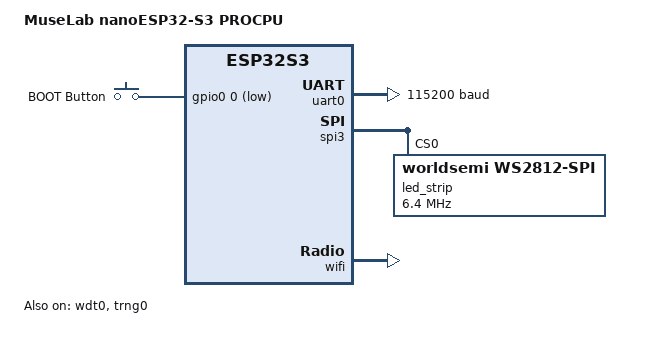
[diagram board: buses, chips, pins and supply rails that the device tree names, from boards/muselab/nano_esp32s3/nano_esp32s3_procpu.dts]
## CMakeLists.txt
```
# SPDX-License-Identifier: Apache-2.0

cmake_minimum_required(VERSION 3.20.0)

# Board definition for MuseLab nanoESP32-S3 lives in ./boards
set(BOARD_ROOT ${CMAKE_CURRENT_LIST_DIR})

find_package(Zephyr REQUIRED HINTS $ENV{ZEPHYR_BASE})
project(atnode_zephyr)

# Per-service HTTP resource iterable section (required by HTTP_SERVICE_DEFINE)
zephyr_linker_sources(SECTIONS sections-rom.ld)

# Shim so the shared Arduino-generated web_page.h (<pgmspace.h>/PROGMEM)
# compiles unmodified under Zephyr.
target_include_directories(app PRIVATE src src/compat)

target_sources(app PRIVATE
	src/main.c
	src/cfg.c
	src/at_core.c
	src/at_serial.c
	src/kbd.c
	src/kbd_ble.c
	src/kbd_usb.c
	src/led.c
	src/wifi_sta.c
	src/httpd.c
	src/mqttc.c
	src/hws.c
)
```

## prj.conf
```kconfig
# SPDX-License-Identifier: Apache-2.0
# AT-Node Zephyr variant (ESP32-S3) — application config
# Board: muselab/nano_esp32s3 (ESP32-S3-WROOM-1-N8R8, 8MB flash + 8MB octal PSRAM)

# --- Memory -------------------------------------------------------------
CONFIG_MAIN_STACK_SIZE=4096
CONFIG_HEAP_MEM_POOL_SIZE=90112
CONFIG_ESP_SPIRAM=y
CONFIG_SPIRAM_MODE_OCT=y

# --- Console / logging ---------------------------------------------------
CONFIG_CONSOLE=y
CONFIG_LOG=y
CONFIG_LOG_DEFAULT_LEVEL=2
CONFIG_PRINTK=y

# --- Board peripherals ----------------------------------------------------
CONFIG_GPIO=y
CONFIG_LED_STRIP=y
CONFIG_SPI=y
CONFIG_ADC=y
CONFIG_ADC_ASYNC=y
CONFIG_I2C=y

# --- Persistent config (settings on NVS flash partition) ------------------
CONFIG_FLASH=y
CONFIG_FLASH_MAP=y
CONFIG_NVS=y
CONFIG_SETTINGS=y
CONFIG_SETTINGS_NVS=y

# --- Networking / WiFi -----------------------------------------------------
CONFIG_NETWORKING=y
CONFIG_NET_SOCKETS=y
CONFIG_POSIX_API=y
CONFIG_NET_IPV4=y
CONFIG_NET_IPV6=n
CONFIG_NET_TCP=y
CONFIG_NET_UDP=y
CONFIG_NET_DHCPV4=y
CONFIG_WIFI=y
CONFIG_WIFI_LOG_LEVEL_ERR=y
CONFIG_ENTROPY_GENERATOR=y
CONFIG_DNS_RESOLVER=y
CONFIG_NET_STATISTICS=n
CONFIG_NET_LOG=y
CONFIG_NET_SHELL=n

# --- TLS (mbedTLS, CA verification) ----------------------------------------
CONFIG_NET_SOCKETS_SOCKOPT_TLS=y
CONFIG_TLS_CREDENTIALS=y
CONFIG_MBEDTLS=y
CONFIG_MBEDTLS_SSL_PROTO_TLS1_2=y
CONFIG_MBEDTLS_MD_C=y
CONFIG_PSA_WANT_ALG_SHA_256=y
CONFIG_PSA_WANT_ALG_SHA_384=y
CONFIG_MBEDTLS_CIPHERSUITE_TLS_ECDHE_RSA_WITH_AES_128_CBC_SHA256=y
CONFIG_MBEDTLS_ENABLE_HEAP=y
CONFIG_MBEDTLS_HEAP_SIZE=60000
# p256m (implied by BT_ECC) breaks ECDHE in TLS handshake on esp32s3
# (-0x7F80 HW_ACCEL_FAILED); use builtin mbedTLS ECC instead.
CONFIG_MBEDTLS_PSA_P256M_DRIVER_ENABLED=n
CONFIG_MBEDTLS_SSL_MAX_CONTENT_LEN=2048

# --- MQTT ------------------------------------------------------------------
CONFIG_MQTT_LIB=y
CONFIG_MQTT_LIB_TLS=y

# --- HTTP server ------------------------------------------------------------
CONFIG_HTTP_SERVER=y
CONFIG_HTTP_SERVER_MAX_CLIENTS=2
CONFIG_HTTP_SERVER_MAX_URL_LENGTH=256
CONFIG_HTTP_SERVER_MAX_CONTENT_TYPE_LENGTH=32
CONFIG_HTTP_SERVER_CLIENT_BUFFER_SIZE=1024
CONFIG_HTTP_SERVER_STACK_SIZE=4096
CONFIG_JSON_LIBRARY=y

# --- Bluetooth LE (HID keyboard peripheral) ---------------------------------
CONFIG_BT=y
CONFIG_BT_PERIPHERAL=y
CONFIG_BT_SMP=y
CONFIG_BT_SETTINGS=y
CONFIG_BT_BAS=y
CONFIG_BT_DIS=y
CONFIG_BT_DIS_SETTINGS=y
CONFIG_BT_DEVICE_NAME_DYNAMIC=y
CONFIG_BT_DEVICE_NAME_MAX=32
CONFIG_BT_DEVICE_APPEARANCE=961
CONFIG_BT_MAX_CONN=2
CONFIG_BT_MAX_PAIRED=4
CONFIG_BT_FILTER_ACCEPT_LIST=y
CONFIG_BT_ID_MAX=1

# --- USB device (HID keyboard over DWC2 OTG) --------------------------------
# HID class auto-enabled via CONFIG_USBD_HID_SUPPORT + "zephyr,hid-device" DT
# node (app.overlay). DMA mode is experimental on esp32s3 (esp_cache_msync
# null errors observed); slave-FIFO path is the proven one.
CONFIG_UDC_DWC2_DMA=n
CONFIG_USB_DEVICE_STACK_NEXT=y

CONFIG_CBPRINTF_FP_SUPPORT=n
CONFIG_REBOOT=y
```

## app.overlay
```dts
/*
 * App-level DT additions for nanoESP32-S3:
 *  - I2C0 on GPIO8/SDA + GPIO9/SCL (same pins as the C3 variant)
 *  - ADC0 (channels 0..9 -> GPIO1..GPIO10)
 *  - USB OTG (DWC2) device controller for the USB HID keyboard
 */

&pinctrl {
	i2c0_default: i2c0_default {
		group1 {
			pinmux = <I2C0_SDA_GPIO8>;
			output-high;
			bias-pull-up;
			drive-open-drain;
		};
		group2 {
			pinmux = <I2C0_SCL_GPIO9>;
			output-high;
			bias-pull-up;
			drive-open-drain;
		};
	};
};

&i2c0 {
	status = "okay";
	clock-frequency = <I2C_BITRATE_FAST>;
	pinctrl-0 = <&i2c0_default>;
	pinctrl-names = "default";
};

&adc0 {
	status = "okay";
	#io-channel-cells = <1>;
	io-channels = <&adc0 0>, <&adc0 1>, <&adc0 2>, <&adc0 3>, <&adc0 4>,
		      <&adc0 5>, <&adc0 6>, <&adc0 7>, <&adc0 8>, <&adc0 9>;
};

zephyr_udc0: &usb_otg {
	status = "okay";
};

&esp32_bt_hci {
	status = "okay";
};

/ {
	/* usbd_hid class instance: 8-byte boot keyboard input report.
	 * LED output reports arrive over the control pipe (no OUT endpoint).
	 */
	hid_dev_0: hid_dev_0 {
		compatible = "zephyr,hid-device";
		label = "AT-Node Keyboard";
		protocol-code = "keyboard";
		in-report-size = <8>;
		in-polling-period-us = <1000>;
	};
};
```

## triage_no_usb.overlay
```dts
/* Triage/debug: disable USB OTG so the native USB-Serial-JTAG keeps the PHY
 * (openocd debugging over the native USB-C port).
 */
&usb_otg {
	status = "disabled";
};
```

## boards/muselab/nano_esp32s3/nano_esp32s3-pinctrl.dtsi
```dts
/*
 * Copyright (c) 2026 MuseLab nanoESP32-S3 Zephyr port
 * SPDX-License-Identifier: Apache-2.0
 */

#include <zephyr/dt-bindings/pinctrl/esp-pinctrl-common.h>
#include <zephyr/dt-bindings/pinctrl/esp32s3-pinctrl.h>
#include <zephyr/dt-bindings/pinctrl/esp32s3-gpio-sigmap.h>

&pinctrl {
	/* UART0 wired to on-board ESPLink USB-to-serial bridge */
	uart0_default: uart0_default {
		group1 {
			pinmux = <UART0_TX_GPIO43>;
			output-high;
		};

		group2 {
			pinmux = <UART0_RX_GPIO44>;
			bias-pull-up;
		};
	};

	/* WS2812B RGB LED data-in on GPIO48, driven as SPI3 MOSI */
	spim3_default: spim3_default {
		group1 {
			pinmux = <SPIM3_MOSI_GPIO48>;
			output-low;
		};
	};
};
```

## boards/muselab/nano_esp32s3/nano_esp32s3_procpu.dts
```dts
/*
 * Copyright (c) 2026 MuseLab nanoESP32-S3 Zephyr port
 * SPDX-License-Identifier: Apache-2.0
 *
 * MuseLab nanoESP32-S3 (ESP32-S3-WROOM-1-N8R8, 8MB flash + 8MB octal PSRAM)
 * - WS2812B RGB LED on GPIO48
 * - BOOT button on GPIO0
 * - UART0 (GPIO43/44) connected to on-board ESPLink USB-to-serial
 */
/dts-v1/;

#include <espressif/esp32s3/esp32s3_wroom_n8r8.dtsi>
#include <espressif/partitions_0x0_amp_8M.dtsi>
#include <zephyr/dt-bindings/input/input-event-codes.h>
#include <zephyr/dt-bindings/led/led.h>
#include "nano_esp32s3-pinctrl.dtsi"

/ {
	model = "MuseLab nanoESP32-S3 PROCPU";
	compatible = "muselab,nano-esp32s3";

	aliases {
		uart-0 = &uart0;
		watchdog0 = &wdt0;
		led-strip = &led_strip;
		sw0 = &button0;
	};

	chosen {
		zephyr,sram = &sram1;
		zephyr,console = &uart0;
		zephyr,shell-uart = &uart0;
		zephyr,flash = &flash0;
		zephyr,code-partition = &slot0_partition;
	};

	buttons {
		compatible = "gpio-keys";

		button0: button_0 {
			gpios = <&gpio0 0 (GPIO_PULL_UP | GPIO_ACTIVE_LOW)>;
			label = "BOOT Button";
			zephyr,code = <INPUT_KEY_0>;
		};
	};
};

&uart0 {
	status = "okay";
	current-speed = <115200>;
	pinctrl-0 = <&uart0_default>;
	pinctrl-names = "default";
};

&gpio0 {
	status = "okay";
};

&gpio1 {
	status = "okay";
};

&spi3 {
	#address-cells = <1>;
	#size-cells = <0>;
	status = "okay";
	pinctrl-0 = <&spim3_default>;
	pinctrl-names = "default";

	/* Workaround to support WS2812 driver */
	line-idle-low;

	led_strip: ws2812@0 {
		compatible = "worldsemi,ws2812-spi";

		/* SPI */
		reg = <0>; /* ignored, but necessary for SPI bindings */
		spi-max-frequency = <6400000>;

		/* WS2812B */
		chain-length = <1>;
		spi-cpha;
		spi-one-frame = <0xf0>;  /* 625 ns high and 625 ns low */
		spi-zero-frame = <0xc0>; /* 312.5 ns high and 937.5 ns low */
		color-mapping = <LED_COLOR_ID_GREEN
				 LED_COLOR_ID_RED
				 LED_COLOR_ID_BLUE>;
	};
};

&wdt0 {
	status = "okay";
};

&trng0 {
	status = "okay";
};

&wifi {
	status = "okay";
};
```

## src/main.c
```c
/*
 * AT-Node Zephyr — main: 7-stage init mirroring the CH582 layer stack.
 *
 *  1. led_init            WS2812 status LED (yellow = booting)
 *  2. cfg_init            settings/NVS config registry
 *  3. kbd_init            keyboard routing + tap/text sequence thread
 *  4. wifi_sta_init       STA + 15 s reconnect watchdog
 *  5. kbd_ble_start       BLE HID peripheral (if ble.auto)
 *  6. httpd_start         /at-node control plane (if http.auto)
 *  7. mqttc_start         MQTT/TLS remote plane (if mqtt.auto)
 *  8. at_serial_init      UART0 AT console
 *
 * SPDX-License-Identifier: Apache-2.0
 */

#include <string.h>

#include <zephyr/kernel.h>
#include <zephyr/sys/printk.h>

#include "at_serial.h"
#include "cfg.h"
#include "httpd.h"
#include "hws.h"
#include "kbd.h"
#include "led.h"
#include "mqttc.h"
#include "wifi_sta.h"

#define DEFAULT_NAME_PREFIX "AT-Node-S3"

void node_cfg_changed(const char *key)
{
	if (strncmp(key, "wifi.", 5) == 0) {
		wifi_sta_reconnect();
	} else if (strncmp(key, "mqtt.", 5) == 0) {
		bool want = cfg_get_bool("mqtt.enable", false);

		if (want && !mqttc_running()) {
			mqttc_start();
		} else if (!want && mqttc_running()) {
			mqttc_stop();
		}
	} else if (strcmp(key, "http.enable") == 0) {
		bool want = cfg_get_bool("http.enable", true);

		if (want && !httpd_running()) {
			httpd_start();
		} else if (!want && httpd_running()) {
			httpd_stop();
		}
	} else if (strcmp(key, "ble.enable") == 0) {
		bool want = cfg_get_bool("ble.enable", true);

		if (want) {
			kbd_ble_start();
		} else {
			kbd_ble_stop();
		}
	}
	/* device.name: applied on next boot for BLE/MQTT identity */
}

int main(void)
{
	printk("AT-Node Zephyr (ESP32-S3) booting\n");

	led_init();
	led_status(LED_BOOT);

	if (cfg_init() != 0) {
		printk("CFG: settings init failed\n");
		led_status(LED_ERROR);
	}

	kbd_init();
	hws_init();
	wifi_sta_init();

	/* USB HID keyboard: always on (independent of BLE target) */
	kbd_usb_start();

	if (cfg_get_bool("ble.auto", true) && !IS_ENABLED(CONFIG_ATNODE_TRIAGE_NO_BT)) {
		kbd_ble_start();
	}
	if (cfg_get_bool("http.auto", true)) {
		httpd_start();
	}
	if (cfg_get_bool("mqtt.auto", false) && cfg_get_bool("mqtt.enable", true)) {
		mqttc_start();
	}

	at_serial_init();

	printk("AT-Node ready (type AT+HELP)\n");
	return 0;
}
```

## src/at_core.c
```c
/*
 * AT-Node Zephyr — transport-agnostic AT command core.
 *
 * Semantics aligned with (priority order):
 *   1. CH582 variant      wchble/mr2/USER-MANUAL.md
 *   2. Arduino variant    esp32/arduino/arduino.ino (serial_exec handler)
 *   3. esp32/arduino/README.md / API.md / PLAN.md
 *
 * One dispatcher shared by serial UART, HTTP /at-node/at and the MQTT cmd
 * topic. Responses go out line-by-line through emit() without CR/LF; each
 * command ends with exactly one "OK" or "ERROR <reason>" line.
 *
 * Thread safety: a single mutex serializes whole commands, so the static
 * scratch buffers below are safe and emit() callbacks never interleave.
 *
 * SPDX-License-Identifier: Apache-2.0
 */

#include <errno.h>
#include <stdarg.h>
#include <stdbool.h>
#include <stdint.h>
#include <stdlib.h>
#include <string.h>

#include <zephyr/kernel.h>
#include <zephyr/sys/printk.h>
#include <zephyr/sys/reboot.h>
#include <zephyr/sys/util.h>

#include "at_core.h"
#include "cfg.h"
#include "hws.h"
#include "httpd.h"
#include "kbd.h"
#include "led.h"
#include "mqttc.h"
#include "wifi_sta.h"

#define AT_LINE_MAX  512 /* dispatcher input copy limit */
#define KEY_STR_MAX  256 /* kbd_job.text payload limit is 257 incl NUL */
#define I2C_IO_MAX   32  /* AT+I2C_R/AT+I2C_W data byte cap */
#define KEY_SEQ_MAX  128 /* Arduino caps AT+KEY_SEQ at 128 values */

static K_MUTEX_DEFINE(at_lock);

struct out {
	at_emit_fn emit;
	void *ctx;
};

/* Scratch (guarded by at_lock) */
static char     s_args[AT_LINE_MAX];
static char    *s_fields[KEY_SEQ_MAX + 3];
static uint32_t s_vals[KEY_SEQ_MAX];
static char     s_status[] = "status"; /* mutable default arg (split-safe) */

/* ------------------------------------------------------------------ */
/* Output helpers                                                      */
/* ------------------------------------------------------------------ */

static void out_line(struct out *o, const char *line)
{
	o->emit(line, o->ctx);
}

static void outf(struct out *o, const char *fmt, ...)
{
	char buf[192];
	va_list ap;

	va_start(ap, fmt);
	vsnprintk(buf, sizeof(buf), fmt, ap);
	va_end(ap);
	buf[sizeof(buf) - 1] = '\0';
	out_line(o, buf);
}

/* ------------------------------------------------------------------ */
/* Parsing helpers                                                     */
/* ------------------------------------------------------------------ */

/* Split s on ',' in place into at most max fields; the last field keeps
 * any remaining commas. Empty fields stay empty (parse as 0), mirroring
 * the Arduino String/indexOf parsing. Returns the field count.
 */
static int split(char *s, char *fields[], int max)
{
	int n = 0;

	fields[n++] = s;
	while (n < max) {
		char *c = strchr(fields[n - 1], ',');

		if (c == NULL) {
			break;
		}
		*c = '\0';
		fields[n++] = c + 1;
	}
	return n;
}

static uint32_t to_u32(const char *s)
{
	return (uint32_t)strtoul(s, NULL, 0); /* base 0: accepts 0x.. like Arduino */
}

/* CH582 KEY_STR escapes (USER-MANUAL §1.1): \n=Enter \t=Tab \\=backslash.
 * A raw command line cannot contain a real LF, so unescape here once for
 * every transport. Unknown escapes keep the char after the backslash.
 * Returns length written (<= cap-1), NUL-terminated.
 */
static size_t unescape_text(const char *in, char *outp, size_t cap)
{
	size_t n = 0;

	while (*in != '\0' && n < cap - 1) {
		if (*in == '\\' && in[1] != '\0') {
			in++;
			switch (*in) {
			case 'n':  outp[n++] = '\n'; break;
			case 't':  outp[n++] = '\t'; break;
			case '\\': outp[n++] = '\\'; break;
			default:   outp[n++] = *in;  break;
			}
			in++;
		} else {
			outp[n++] = *in++;
		}
	}
	outp[n] = '\0';
	return n;
}

/* ------------------------------------------------------------------ */
/* Command handlers (line is the mutable s_args buffer)                */
/* ------------------------------------------------------------------ */

static void cmd_help(struct out *o)
{
	static const char *const lines[] = {
		"AT-Node Zephyr commands:",
		"  AT / AT+STATUS / AT+VER / AT+HELP / AT+ABILITY",
		"  AT+TAP=<ms>,<mods>,<key>     press+release (ms 1..10000)",
		"  AT+KEY=<mods>,<k1>..<k6>    raw HID report (use AT+KEY=0,0 to release)",
		"  AT+KEY_STR=<text>           type text (escapes \\n \\t \\\\)",
		"  AT+KEY_SEQ=<ms>,<mods>,<k1..6>,... batch HID reports",
		"  AT+DEV[=USB|BLE|ALL]        kbd output target query/set",
		"  AT+SET=<key>=<val> / AT+GET=<key> / AT+KEYS  config",
		"  AT+GPIO_W=<pin>,<level> / AT+GPIO_R=<pin>",
		"  AT+ADC=<ch> / AT+I2C_SCAN / AT+I2C_R=<addr>,<reg>,<len>",
		"  AT+I2C_W=<addr>,<reg>,<d0>,<d1>,...",
		"  AT+WIFI=ssid|pass,<val> / AT+WIFI=status",
		"  AT+MQTT=connect|disconnect|status|enable,0|1|auto,0|1",
		"  AT+HTTP=status|enable,0|1|auto,0|1",
		"  AT+PAIR=1 open 60s window / AT+PAIR=0|status / AT+UNPAIR",
		"  AT+LED=<r>,<g>,<b>|off|auto",
		"  AT+NVS=clear / AT+RST",
	};

	for (size_t i = 0; i < ARRAY_SIZE(lines); i++) {
		out_line(o, lines[i]);
	}
	out_line(o, "OK");
}

static void cmd_status(struct out *o)
{
	char name[CFG_VAL_MAX];
	char ip[16];
	char mac[18];
	const char *ble;
	const char *mqtt;

	cfg_get_str("device.name", name, sizeof(name), "AT-Node-S3");
	wifi_sta_ip_str(ip, sizeof(ip));
	wifi_sta_mac_str(mac, sizeof(mac));

	if (kbd_ble_connected()) {
		ble = "connected";
	} else if (kbd_ble_pair_window_active()) {
		ble = "pairing";
	} else {
		ble = "disconnected";
	}
	if (!mqttc_running()) {
		mqtt = "off";
	} else if (mqttc_connected()) {
		mqtt = "connected";
	} else {
		mqtt = "connecting";
	}

	outf(o, "device=%s", name);
	outf(o, "ble=%s", ble);
	outf(o, "usb=%s", kbd_usb_ready() ? "ready" : "off");
	outf(o, "wifi=%s", wifi_sta_is_up() ? "up" : "down");
	outf(o, "ip=%s", ip);
	outf(o, "mac=%s", mac);
	outf(o, "rssi=%d", wifi_sta_rssi());
	outf(o, "mqtt=%s", mqtt);
	outf(o, "http=%s", httpd_running() ? "on" : "off");
	out_line(o, "OK");
}

/* AT+SET=<key>=<val> — unified config layer (arduino.ino:2718) */
static void cmd_set(struct out *o, char *args)
{
	char *eq = strchr(args, '=');
	int rc;

	if (eq == NULL || eq == args) {
		out_line(o, "ERROR bad args");
		return;
	}
	*eq = '\0';
	rc = cfg_set(args, eq + 1);
	if (rc == 0) {
		node_cfg_changed(args);
		out_line(o, "OK");
	} else if (rc == -ENOENT) {
		out_line(o, "ERROR unknown key");
	} else {
		out_line(o, "ERROR bad value");
	}
}

/* AT+GET=<key> (arduino.ino:2727) */
static void cmd_get(struct out *o, const char *key)
{
	char val[CFG_VAL_MAX];
	int rc = cfg_get(key, val, sizeof(val));

	if (rc == 0) {
		outf(o, "+GET:%s=%s", key, val);
		out_line(o, "OK");
	} else if (rc == -EACCES) {
		out_line(o, "ERROR write-only");
	} else if (rc == -ENOENT) {
		out_line(o, "ERROR unknown key");
	} else {
		out_line(o, "ERROR bad value");
	}
}

static void keys_cb(const char *key, const char *val, bool write_only, void *ctx)
{
	struct out *o = ctx;

	if (write_only || val == NULL) {
		outf(o, "%s=***", key);
	} else {
		outf(o, "%s=%s", key, val);
	}
}

/* AT+TAP=<ms>,<mods>,<key> (arduino.ino:2613, CH582 §3) */
static void cmd_tap(struct out *o, char *args)
{
	int rc;

	if (split(args, s_fields, 3) != 3) {
		out_line(o, "ERROR bad args");
		return;
	}
	s_vals[0] = to_u32(s_fields[0]); /* ms: reject before uint16_t wrap */
	if (s_vals[0] == 0 || s_vals[0] > 10000) {
		out_line(o, "ERROR bad args");
		return;
	}
	rc = kbd_tap((uint16_t)s_vals[0], (uint8_t)to_u32(s_fields[1]),
		     (uint8_t)to_u32(s_fields[2]));
	if (rc == 0) {
		out_line(o, "OK");
	} else if (rc == -ENOSPC) {
		out_line(o, "ERROR busy");
	} else {
		out_line(o, "ERROR bad args"); /* ms==0, ms>10000 or key==0 */
	}
}

/* AT+KEY=<mods>,<k1>..<k6> — raw press; release with AT+KEY=0,0
 * (arduino.ino:2628, CH582 §3). Missing key fields pad as 0.
 */
static void cmd_key(struct out *o, char *args)
{
	uint8_t keys[6] = { 0 };
	uint8_t mods;
	int n = split(args, s_fields, 7);
	int rc;

	mods = (uint8_t)to_u32(s_fields[0]);
	for (int i = 0; i < 6 && i + 1 < n; i++) {
		keys[i] = (uint8_t)to_u32(s_fields[i + 1]);
	}
	rc = kbd_send_report(mods, keys);
	if (rc == 0) {
		out_line(o, "OK");
	} else {
		out_line(o, "ERROR no host"); /* no enabled backend connected */
	}
}

/* AT+KEY_STR=<text> (CH582 §3; ms=40 gap=30 per PLAN.md §keyboard/text) */
static void cmd_key_str(struct out *o, const char *args)
{
	static char text[KEY_STR_MAX + 1];
	int rc;

	if (unescape_text(args, text, sizeof(text)) == 0) {
		out_line(o, "ERROR bad args");
		return;
	}
	rc = kbd_type_text(text, 40, 30);
	if (rc == 0) {
		out_line(o, "OK");
	} else if (rc == -ENOSPC) {
		out_line(o, "ERROR busy");
	} else {
		out_line(o, "ERROR bad args");
	}
}

/* AT+KEY_SEQ=<delay_ms>,<mods>,<k1>..<k6>,... groups of 7
 * (arduino.ino:2647): delay clamped 1..200, raw reports, no auto-release.
 */
static void cmd_key_seq(struct out *o, char *args)
{
	int n = split(args, s_fields, KEY_SEQ_MAX);
	int d, reports;

	for (int i = 0; i < n; i++) {
		s_vals[i] = to_u32(s_fields[i]);
	}
	if (n < 8 || ((n - 1) % 7) != 0) {
		out_line(o, "ERROR usage AT+KEY_SEQ=<ms>,<mods>,<k1..6>,...");
		return;
	}
	d = (int)s_vals[0];
	if (d < 1) {
		d = 1;
	}
	if (d > 200) {
		d = 200;
	}
	reports = (n - 1) / 7;
	for (int r = 0; r < reports; r++) {
		uint8_t keys[6];

		for (int i = 0; i < 6; i++) {
			keys[i] = (uint8_t)s_vals[1 + r * 7 + 1 + i];
		}
		kbd_send_report((uint8_t)s_vals[1 + r * 7], keys);
		k_sleep(K_MSEC(d));
	}
	outf(o, "%d reports sent", reports);
	out_line(o, "OK");
}

/* AT+DEV[=USB|BLE|ALL] (CH582 §3 AT+DEV; ALL from kbd.h KB_TGT_ALL) */
static void cmd_dev(struct out *o, const char *args)
{
	if (args == NULL || args[0] == '\0' || strcmp(args, "?") == 0) {
		uint8_t t = kbd_get_targets();

		outf(o, "+DEV:%s,usb=%s,ble=%s",
		     (t == KB_TGT_USB) ? "USB" : ((t == KB_TGT_BLE) ? "BLE" : "ALL"),
		     kbd_usb_ready() ? "ready" : "off",
		     kbd_ble_connected() ? "connected" : "disconnected");
		out_line(o, "OK");
	} else if (strcmp(args, "USB") == 0) {
		kbd_set_targets(KB_TGT_USB);
		out_line(o, "OK");
	} else if (strcmp(args, "BLE") == 0) {
		kbd_set_targets(KB_TGT_BLE);
		out_line(o, "OK");
	} else if (strcmp(args, "ALL") == 0) {
		kbd_set_targets(KB_TGT_ALL);
		out_line(o, "OK");
	} else {
		out_line(o, "ERROR bad args");
	}
}

static void cmd_gpio_w(struct out *o, char *args)
{
	if (split(args, s_fields, 2) != 2) {
		out_line(o, "ERROR bad args");
		return;
	}
	if (hws_gpio_write((uint8_t)to_u32(s_fields[0]),
			   (int)to_u32(s_fields[1])) == 0) {
		out_line(o, "OK");
	} else {
		out_line(o, "ERROR unsafe pin");
	}
}

static void cmd_gpio_r(struct out *o, char *args)
{
	int level;

	if (hws_gpio_read((uint8_t)to_u32(args), &level) == 0) {
		outf(o, "+GPIO_R:%d", level); /* arduino.ino:2772 format */
		out_line(o, "OK");
	} else {
		out_line(o, "ERROR bad pin");
	}
}

static void cmd_adc(struct out *o, char *args)
{
	int mv;

	if (hws_adc_read_mv((uint8_t)to_u32(args), &mv) == 0) {
		outf(o, "+ADC:%d", mv); /* arduino.ino:2779 format (mV) */
		out_line(o, "OK");
	} else {
		out_line(o, "ERROR bad channel");
	}
}

static void cmd_i2c_scan(struct out *o)
{
	static char buf[600]; /* "+I2C:" + up to 112 x " 0xXX" */

	if (hws_i2c_scan(buf, sizeof(buf)) == 0) {
		out_line(o, buf);
		out_line(o, "OK");
	} else {
		out_line(o, "ERROR i2c");
	}
}

/* AT+I2C_R=<addr>,<reg>,<len> (arduino.ino:2797) */
static void cmd_i2c_r(struct out *o, char *args)
{
	uint8_t data[I2C_IO_MAX];
	uint32_t len;
	char *p;
	int left;

	if (split(args, s_fields, 3) != 3) {
		out_line(o, "ERROR bad args");
		return;
	}
	len = to_u32(s_fields[2]);
	if (len == 0 || len > I2C_IO_MAX) {
		out_line(o, "ERROR bad args");
		return;
	}
	if (hws_i2c_read((uint8_t)to_u32(s_fields[0]), (uint8_t)to_u32(s_fields[1]),
			 data, len) != 0) {
		out_line(o, "ERROR i2c");
		return;
	}
	/* "+I2C_R:0A 1F" — hex bytes after colon, space separated */
	p = s_args;
	left = sizeof(s_args);
	p += snprintk(p, left, "+I2C_R:");
	for (uint32_t i = 0; i < len; i++) {
		p += snprintk(p, left - (p - s_args), "%s%02X", (i != 0) ? " " : "",
			      data[i]);
	}
	out_line(o, s_args);
	out_line(o, "OK");
}

/* AT+I2C_W=<addr>,<reg>,<d0>,<d1>,... (task format; arduino.ino:2823) */
static void cmd_i2c_w(struct out *o, char *args)
{
	uint8_t data[I2C_IO_MAX];
	int n = split(args, s_fields, I2C_IO_MAX + 2);

	if (n < 3) {
		out_line(o, "ERROR bad args");
		return;
	}
	for (int i = 2; i < n; i++) {
		data[i - 2] = (uint8_t)to_u32(s_fields[i]);
	}
	if (hws_i2c_write((uint8_t)to_u32(s_fields[0]), (uint8_t)to_u32(s_fields[1]),
			  data, n - 2) == 0) {
		out_line(o, "OK");
	} else {
		out_line(o, "ERROR i2c");
	}
}

/* AT+WIFI=ssid|pass,<val> alias over cfg (arduino.ino:2928); status */
static void cmd_wifi(struct out *o, char *args)
{
	char ssid[CFG_VAL_MAX];
	int n = split(args, s_fields, 2);

	if (n == 2 && strcmp(s_fields[0], "ssid") == 0) {
		if (cfg_set("wifi.ssid", s_fields[1]) == 0) {
			node_cfg_changed("wifi.ssid");
			out_line(o, "OK");
		} else {
			out_line(o, "ERROR bad value");
		}
	} else if (n == 2 && strcmp(s_fields[0], "pass") == 0) {
		if (cfg_set("wifi.pass", s_fields[1]) == 0) {
			node_cfg_changed("wifi.pass");
			out_line(o, "OK");
		} else {
			out_line(o, "ERROR bad value");
		}
	} else if (strcmp(s_fields[0], "status") == 0) {
		cfg_get_str("wifi.ssid", ssid, sizeof(ssid), "");
		outf(o, "+WIFI:%s", ssid); /* arduino.ino:2938 format */
		out_line(o, "OK");
	} else {
		out_line(o, "ERROR bad args");
	}
}

/* AT+MQTT=connect|disconnect|status|enable,0|1|auto,0|1 (arduino.ino:2881) */
static void cmd_mqtt(struct out *o, char *args)
{
	int n = split(args, s_fields, 2);
	const char *sub = s_fields[0];
	const char *val = (n == 2) ? s_fields[1] : "";
	int rc;

	if (strcmp(sub, "connect") == 0) {
		rc = mqttc_start();
		if (rc == 0) {
			out_line(o, "OK");
		} else if (rc == -EINVAL) {
			out_line(o, "ERROR broker unset");
		} else {
			out_line(o, "ERROR start failed");
		}
	} else if (strcmp(sub, "disconnect") == 0) {
		mqttc_stop();
		out_line(o, "OK");
	} else if (strcmp(sub, "status") == 0) {
		outf(o, "+MQTT:%s,auto=%d,enabled=%d",
		     mqttc_connected() ? "connected" : "disconnected",
		     cfg_get_bool("mqtt.auto", false) ? 1 : 0,
		     cfg_get_bool("mqtt.enable", false) ? 1 : 0);
		out_line(o, "OK");
	} else if (n == 2 && strcmp(sub, "enable") == 0) {
		if (cfg_set("mqtt.enable", val) == 0) {
			node_cfg_changed("mqtt.enable");
			out_line(o, "OK");
		} else {
			out_line(o, "ERROR bad value");
		}
	} else if (n == 2 && strcmp(sub, "auto") == 0) {
		if (cfg_set("mqtt.auto", val) == 0) {
			node_cfg_changed("mqtt.auto");
			out_line(o, "OK");
		} else {
			out_line(o, "ERROR bad value");
		}
	} else {
		out_line(o, "ERROR bad args");
	}
}

/* AT+HTTP=status|enable,0|1|auto,0|1 (arduino.ino:2949) */
static void cmd_http(struct out *o, char *args)
{
	int n = split(args, s_fields, 2);
	const char *sub = s_fields[0];
	const char *val = (n == 2) ? s_fields[1] : "";

	if (strcmp(sub, "status") == 0) {
		outf(o, "+HTTP:%s,auto=%d", httpd_running() ? "enabled" : "disabled",
		     cfg_get_bool("http.auto", true) ? 1 : 0);
		out_line(o, "OK");
	} else if (n == 2 && strcmp(sub, "enable") == 0) {
		if (cfg_set("http.enable", val) == 0) {
			node_cfg_changed("http.enable");
			out_line(o, "OK");
		} else {
			out_line(o, "ERROR bad value");
		}
	} else if (n == 2 && strcmp(sub, "auto") == 0) {
		if (cfg_set("http.auto", val) == 0) {
			node_cfg_changed("http.auto");
			out_line(o, "OK");
		} else {
			out_line(o, "ERROR bad value");
		}
	} else {
		out_line(o, "ERROR bad args");
	}
}

/* AT+PAIR=1 open 60s public pairing window (API.md §8); =0|status query */
static void cmd_pair(struct out *o, const char *args)
{
	if (strcmp(args, "1") == 0) {
		kbd_ble_pair_open();
		out_line(o, "OK");
	} else if (strcmp(args, "0") == 0 || strcmp(args, "status") == 0) {
		outf(o, "+PAIR:window=%d,bond=%d",
		     kbd_ble_pair_window_active() ? 1 : 0,
		     kbd_ble_has_bond() ? 1 : 0);
		out_line(o, "OK");
	} else {
		out_line(o, "ERROR bad args");
	}
}

/* AT+LED=<r>,<g>,<b>|off|auto */
static void cmd_led(struct out *o, char *args)
{
	if (strcmp(args, "off") == 0) {
		led_off();
		out_line(o, "OK");
		return;
	}
	if (strcmp(args, "auto") == 0) {
		led_status(wifi_sta_is_up() ? LED_ONLINE : LED_WIFI_CONNECTING);
		out_line(o, "OK");
		return;
	}
	if (split(args, s_fields, 3) == 3 && to_u32(s_fields[0]) <= 255 &&
	    to_u32(s_fields[1]) <= 255 && to_u32(s_fields[2]) <= 255) {
		led_set_rgb((uint8_t)to_u32(s_fields[0]), (uint8_t)to_u32(s_fields[1]),
			    (uint8_t)to_u32(s_fields[2]));
		out_line(o, "OK");
	} else {
		out_line(o, "ERROR bad args");
	}
}

/* ------------------------------------------------------------------ */
/* Dispatcher                                                          */
/* ------------------------------------------------------------------ */

static void dispatch(char *line, struct out *o)
{
	if (strcmp(line, "AT") == 0) {
		out_line(o, "OK");
	} else if (strcmp(line, "AT+VER") == 0) {
		out_line(o, "AT-Node v1.0 [zephyr-s3]");
		out_line(o, "OK");
	} else if (strcmp(line, "AT+HELP") == 0) {
		cmd_help(o);
	} else if (strcmp(line, "AT+STATUS") == 0) {
		cmd_status(o);
	} else if (strcmp(line, "AT+ABILITY") == 0) {
		out_line(o, "{\"ble\":1,\"usb\":1,\"mqtt\":1,\"http\":1,"
			    "\"i2c\":1,\"adc\":1,\"ir\":0,\"rathole\":0}");
		out_line(o, "OK");
	} else if (strncmp(line, "AT+SET=", 7) == 0) {
		cmd_set(o, line + 7);
	} else if (strncmp(line, "AT+GET=", 7) == 0) {
		cmd_get(o, line + 7);
	} else if (strcmp(line, "AT+KEYS") == 0) {
		cfg_list(keys_cb, o);
		out_line(o, "OK");
	} else if (strncmp(line, "AT+TAP=", 7) == 0) {
		cmd_tap(o, line + 7);
	} else if (strncmp(line, "AT+KEY=", 7) == 0) {
		cmd_key(o, line + 7);
	} else if (strncmp(line, "AT+KEY_STR=", 11) == 0) {
		cmd_key_str(o, line + 11);
	} else if (strncmp(line, "AT+KEY_SEQ=", 11) == 0) {
		cmd_key_seq(o, line + 11);
	} else if (strncmp(line, "AT+DEV=", 7) == 0) {
		cmd_dev(o, line + 7);
	} else if (strcmp(line, "AT+DEV") == 0) {
		cmd_dev(o, NULL);
	} else if (strncmp(line, "AT+GPIO_W=", 10) == 0) {
		cmd_gpio_w(o, line + 10);
	} else if (strncmp(line, "AT+GPIO_R=", 10) == 0) {
		cmd_gpio_r(o, line + 10);
	} else if (strncmp(line, "AT+ADC=", 7) == 0) {
		cmd_adc(o, line + 7);
	} else if (strcmp(line, "AT+I2C_SCAN") == 0) {
		cmd_i2c_scan(o);
	} else if (strncmp(line, "AT+I2C_R=", 9) == 0) {
		cmd_i2c_r(o, line + 9);
	} else if (strncmp(line, "AT+I2C_W=", 9) == 0) {
		cmd_i2c_w(o, line + 9);
	} else if (strncmp(line, "AT+WIFI=", 8) == 0) {
		cmd_wifi(o, line + 8);
	} else if (strncmp(line, "AT+MQTT=", 8) == 0) {
		cmd_mqtt(o, line + 8);
	} else if (strncmp(line, "AT+HTTP=", 8) == 0) {
		cmd_http(o, line + 8);
	} else if (strcmp(line, "AT+HTTP") == 0) {
		cmd_http(o, s_status);
	} else if (strncmp(line, "AT+PAIR=", 8) == 0) {
		cmd_pair(o, line + 8);
	} else if (strcmp(line, "AT+PAIR") == 0) {
		cmd_pair(o, s_status);
	} else if (strcmp(line, "AT+UNPAIR") == 0) {
		kbd_ble_clear_bonds();
		out_line(o, "OK");
	} else if (strncmp(line, "AT+LED=", 7) == 0) {
		cmd_led(o, line + 7);
	} else if (strncmp(line, "AT+NVS=", 7) == 0) {
		if (strcmp(line + 7, "clear") == 0) {
			cfg_erase_all();
			out_line(o, "NVS erased, reboot with AT+RST");
			out_line(o, "OK");
		} else {
			out_line(o, "ERROR bad args");
		}
	} else if (strcmp(line, "AT+RST") == 0) {
		out_line(o, "OK");
		k_sleep(K_MSEC(100)); /* let the transport flush */
		sys_reboot(SYS_REBOOT_COLD);
	} else {
		out_line(o, "ERROR unknown cmd");
	}
}

void at_handle_line(const char *line, at_emit_fn emit, void *ctx)
{
	struct out o = { emit, ctx };
	size_t n;

	if (line == NULL) {
		line = "";
	}
	k_mutex_lock(&at_lock, K_FOREVER);

	/* Bounded copy, then strip trailing whitespace/CR/LF (Arduino
	 * line.trim() semantics in the serial handler).
	 */
	n = strlen(line);
	if (n >= sizeof(s_args)) {
		n = sizeof(s_args) - 1;
	}
	memcpy(s_args, line, n);
	s_args[n] = '\0';
	while (n > 0 && (s_args[n - 1] == ' ' || s_args[n - 1] == '\t' ||
			 s_args[n - 1] == '\r' || s_args[n - 1] == '\n')) {
		s_args[--n] = '\0';
	}

	dispatch(s_args, &o);

	k_mutex_unlock(&at_lock);
}

/* ------------------------------------------------------------------ */
/* at_handle_collect — synchronous collect for HTTP/MQTT transports    */
/* ------------------------------------------------------------------ */

struct collect_ctx {
	char *buf;
	int len;
	int pos;
};

static void collect_emit(const char *line, void *ctx)
{
	struct collect_ctx *c = ctx;
	int n;

	if (c->pos >= c->len - 1) {
		return;
	}
	n = snprintk(c->buf + c->pos, c->len - c->pos, "%s\n", line);
	if (n > c->len - 1 - c->pos) {
		n = c->len - 1 - c->pos; /* snprintk may report would-be length */
	}
	if (n > 0) {
		c->pos += n;
	}
}

int at_handle_collect(const char *line, char *buf, int len)
{
	struct collect_ctx c = { buf, len, 0 };

	if (buf == NULL || len <= 0) {
		return 0;
	}
	buf[0] = '\0';
	at_handle_line(line, collect_emit, &c);
	buf[c.pos] = '\0';
	return c.pos;
}
```

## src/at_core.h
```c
/*
 * AT-Node Zephyr — transport-agnostic AT command core.
 *
 * One parser/dispatcher shared by serial UART, HTTP /at-node/at and the
 * MQTT cmd topic, mirroring the Arduino variant's handle_at_command().
 *
 * Protocol: caller feeds one full command line (without trailing CR/LF).
 * Responses are delivered line-by-line through emit() WITHOUT CR/LF;
 * the transport adds framing. Every command ends with exactly one final
 * "OK" or "ERROR <reason>" line; data lines precede it.
 *
 * SPDX-License-Identifier: Apache-2.0
 */
#pragma once

typedef void (*at_emit_fn)(const char *line, void *ctx);

/* Dispatch one command line. Thread-safe (serializes internally). */
void at_handle_line(const char *line, at_emit_fn emit, void *ctx);

/* Synchronous helper: run one command, collect full response into buf
 * (lines separated by \n, always ends with "OK\n" or "ERROR ...\n").
 * Returns response length, truncated to len-1. For HTTP/MQTT transports.
 */
int at_handle_collect(const char *line, char *buf, int len);
```

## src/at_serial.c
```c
/*
 * AT-Node Zephyr — serial (UART0 console) AT interface.
 *
 * Dedicated RX thread polls zephyr,console (uart0, 115200) with
 * uart_poll_in(); printable chars are echoed and accumulated (300 char
 * line buffer). CR or LF terminates a command (a LF right after CR is
 * swallowed so CRLF terminals don't execute twice); empty lines are
 * ignored; Ctrl-C (0x03) cancels the line being typed; backspace edits.
 * Responses are emitted char-by-char via uart_poll_out() + CR/LF.
 *
 * Mirrors the Arduino variant's non-blocking handle_serial(): CR executes,
 * the following LF is an empty line and is skipped; overflow drops garbage.
 *
 * SPDX-License-Identifier: Apache-2.0
 */

#include <zephyr/device.h>
#include <zephyr/devicetree.h>
#include <zephyr/drivers/uart.h>
#include <zephyr/kernel.h>
#include <zephyr/sys/printk.h>

#include "at_core.h"
#include "at_serial.h"

#define AT_LINE_MAX   300
#define AT_STACK_SIZE 2048
#define AT_THREAD_PRIO 7

static const struct device *const at_uart =
	DEVICE_DT_GET(DT_CHOSEN(zephyr_console));

static struct k_thread at_thread_data;
static K_THREAD_STACK_DEFINE(at_stack, AT_STACK_SIZE);

static void uart_emit(const char *line, void *ctx)
{
	const struct device *dev = ctx;

	while (*line != '\0') {
		uart_poll_out(dev, (unsigned char)*line++);
	}
	uart_poll_out(dev, '\r');
	uart_poll_out(dev, '\n');
}

static void at_rx_thread(void *a, void *b, void *c)
{
	static char line[AT_LINE_MAX + 1];
	int len = 0;
	bool skip_lf = false;
	unsigned char ch;

	ARG_UNUSED(a);
	ARG_UNUSED(b);
	ARG_UNUSED(c);

	uart_emit("AT-Node Zephyr ready, AT+HELP for cmds", (void *)at_uart);

	while (1) {
		if (uart_poll_in(at_uart, &ch) != 0) {
			k_sleep(K_MSEC(2));
			continue;
		}

		if (ch == 0x03) { /* Ctrl-C: cancel the line being typed */
			len = 0;
			skip_lf = false;
			uart_emit("^C", (void *)at_uart);
			continue;
		}

		if (ch == '\r' || ch == '\n') {
			if (ch == '\n' && skip_lf) { /* LF of a CRLF pair */
				skip_lf = false;
				continue;
			}
			skip_lf = (ch == '\r');
			uart_poll_out(at_uart, '\r');
			uart_poll_out(at_uart, '\n');
			/* trim trailing spaces/tabs (Arduino line.trim()) */
			while (len > 0 &&
			       (line[len - 1] == ' ' || line[len - 1] == '\t')) {
				len--;
			}
			line[len] = '\0';
			if (len > 0) { /* empty lines ignored */
				at_handle_line(line, uart_emit, (void *)at_uart);
			}
			len = 0;
			continue;
		}
		skip_lf = false;

		if (ch == '\b' || ch == 0x7F) { /* backspace / DEL */
			if (len > 0) {
				len--;
				uart_poll_out(at_uart, '\b');
				uart_poll_out(at_uart, ' ');
				uart_poll_out(at_uart, '\b');
			}
			continue;
		}

		if (ch < 0x20) {
			continue; /* drop other control chars */
		}

		if (len < AT_LINE_MAX) {
			line[len++] = (char)ch;
			uart_poll_out(at_uart, ch); /* echo */
		} else {
			len = 0; /* overflow: drop garbage (Arduino semantics) */
		}
	}
}

void at_serial_init(void)
{
	if (!device_is_ready(at_uart)) {
		printk("AT: console UART not ready\n");
		return;
	}
	k_thread_create(&at_thread_data, at_stack, AT_STACK_SIZE, at_rx_thread,
			NULL, NULL, NULL, AT_THREAD_PRIO, 0, K_NO_WAIT);
	k_thread_name_set(&at_thread_data, "at_serial");
	printk("AT: serial console on uart0 (115200)\n");
}
```

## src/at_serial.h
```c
/*
 * AT-Node Zephyr — serial (UART0 console) AT interface.
 * Line-oriented: chars until CR/LF, echo on, then at_handle_line().
 *
 * SPDX-License-Identifier: Apache-2.0
 */
#pragma once

void at_serial_init(void); /* spawns RX thread on zephyr,console UART */
```

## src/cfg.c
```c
/*
 * AT-Node Zephyr — persistent config registry (settings/NVS backed).
 *
 * All keys live under the "atnode" settings subtree, persisted on the
 * NVS "storage_partition". Values are cached in RAM at load/set time so
 * cfg_get*() never touches flash. Secret keys (wifi.pass, mqtt.pass) are
 * write-only through the AT-facing cfg_get()/cfg_list() surface; internal
 * typed readers (cfg_get_str() etc.) return the real value for the
 * WiFi/MQTT services.
 *
 * SPDX-License-Identifier: Apache-2.0
 */

#include <errno.h>
#include <stdlib.h>
#include <string.h>

#include <zephyr/kernel.h>
#include <zephyr/settings/settings.h>
#include <zephyr/sys/printk.h>

#include <esp_mac.h>

#include "cfg.h"

#define CFG_HANDLER_NAME "atnode"
#define CFG_NAME_MAX     (SETTINGS_FULL_NAME_LEN)

#define CFG_F_WO   BIT(0) /* write-only secret (cfg_get -> -EACCES) */
#define CFG_F_BOOL BIT(1) /* persisted as "1"/"0" */
#define CFG_F_INT  BIT(2) /* mqtt.port: 1..65535 */

struct cfg_entry {
	const char *name;
	uint8_t flags;
	bool is_set;
	char val[CFG_VAL_MAX];
};

static struct cfg_entry cfg_table[] = {
	{ "device.name",  0,         false, "" },
	{ "wifi.ssid",    0,         false, "" },
	{ "wifi.pass",    CFG_F_WO,  false, "" },
	{ "mqtt.broker",  0,         false, "" },
	{ "mqtt.port",    CFG_F_INT, false, "" },
	{ "mqtt.user",    0,         false, "" },
	{ "mqtt.pass",    CFG_F_WO,  false, "" },
	{ "mqtt.auto",    CFG_F_BOOL, false, "" },
	{ "mqtt.enable",  CFG_F_BOOL, false, "" },
	{ "http.auto",    CFG_F_BOOL, false, "" },
	{ "http.enable",  CFG_F_BOOL, false, "" },
	{ "ble.auto",     CFG_F_BOOL, false, "" },
	{ "ble.enable",   CFG_F_BOOL, false, "" },
};

static K_MUTEX_DEFINE(cfg_lock);
static bool cfg_ready;
static char cfg_def_name[CFG_VAL_MAX]; /* computed device.name default */

static struct cfg_entry *cfg_find(const char *key)
{
	for (size_t i = 0; i < ARRAY_SIZE(cfg_table); i++) {
		if (strcmp(cfg_table[i].name, key) == 0) {
			return &cfg_table[i];
		}
	}
	return NULL;
}

/* "AT-Node-S3-XXXX", XXXX = last 2 MAC bytes (efuse, WiFi not required) */
static void cfg_compute_def_name(void)
{
	uint8_t mac[6] = { 0 };

	if (esp_efuse_mac_get_default(mac) != 0) {
		printk("CFG: efuse MAC read failed, using zero suffix\n");
	}
	snprintk(cfg_def_name, sizeof(cfg_def_name), "AT-Node-S3-%02X%02X",
		 mac[4], mac[5]);
}

/* Registry default for a key ("" when none). Caller must hold cfg_lock. */
static void cfg_default(const struct cfg_entry *e, char *buf, size_t len)
{
	if (strcmp(e->name, "device.name") == 0) {
		snprintk(buf, len, "%s", cfg_def_name);
	} else if (strcmp(e->name, "mqtt.port") == 0) {
		snprintk(buf, len, "8883");
	} else {
		buf[0] = '\0';
	}
}

/* Validate + normalize a new value. Returns 0, -EINVAL on bad value. */
static int cfg_validate(const struct cfg_entry *e, const char *in, char *out,
			size_t out_len)
{
	if ((e->flags & CFG_F_BOOL) != 0) {
		if (strcmp(in, "1") == 0 || strcmp(in, "true") == 0) {
			snprintk(out, out_len, "1");
		} else if (strcmp(in, "0") == 0 || strcmp(in, "false") == 0) {
			snprintk(out, out_len, "0");
		} else {
			return -EINVAL;
		}
		return 0;
	}

	if ((e->flags & CFG_F_INT) != 0) {
		char *end = NULL;
		long v = strtol(in, &end, 10);

		if (end == in || *end != '\0' || v < 1 || v > 65535) {
			return -EINVAL;
		}
		snprintk(out, out_len, "%ld", v);
		return 0;
	}

	if (strlen(in) >= out_len) {
		return -EINVAL;
	}
	snprintk(out, out_len, "%s", in);
	return 0;
}

static int atnode_h_set(const char *key, size_t len, settings_read_cb read_cb,
			void *cb_arg)
{
	struct cfg_entry *e;
	ssize_t got;

	k_mutex_lock(&cfg_lock, K_FOREVER);
	e = cfg_find(key);
	if (e == NULL) {
		/* Unknown key under our subtree: ignore, nothing to consume
		 * (read_cb may be left unread; backend does not care). */
		k_mutex_unlock(&cfg_lock);
		return 0;
	}

	if (len == 0) {
		/* Deleted entry. */
		e->is_set = false;
		e->val[0] = '\0';
		k_mutex_unlock(&cfg_lock);
		return 0;
	}

	if (len >= sizeof(e->val)) {
		printk("CFG: value for %s too long (%u), skipped\n", key, len);
		k_mutex_unlock(&cfg_lock);
		return 0;
	}

	got = read_cb(cb_arg, e->val, len);
	if (got < 0) {
		k_mutex_unlock(&cfg_lock);
		return (int)got;
	}
	e->val[got] = '\0';
	e->is_set = true;
	k_mutex_unlock(&cfg_lock);
	return 0;
}

static struct settings_handler atnode_settings = {
	.name = CFG_HANDLER_NAME,
	.h_set = atnode_h_set,
};

int cfg_init(void)
{
	int rc;

	if (cfg_ready) {
		return 0;
	}

	cfg_compute_def_name();

	rc = settings_subsys_init();
	if (rc != 0) {
		printk("CFG: settings_subsys_init failed (%d)\n", rc);
		return rc;
	}

	rc = settings_register(&atnode_settings);
	if (rc != 0) {
		printk("CFG: settings_register failed (%d)\n", rc);
		return rc;
	}

	rc = settings_load();
	if (rc != 0) {
		printk("CFG: settings_load failed (%d)\n", rc);
		return rc;
	}

	cfg_ready = true;
	printk("CFG: ready, device.name=%s\n", cfg_def_name);
	return 0;
}

int cfg_set(const char *key, const char *val)
{
	struct cfg_entry *e;
	char norm[CFG_VAL_MAX];
	char name[CFG_NAME_MAX];
	int rc;

	if (key == NULL || val == NULL) {
		return -EINVAL;
	}
	if (!cfg_ready) {
		return -ENODEV;
	}

	k_mutex_lock(&cfg_lock, K_FOREVER);
	e = cfg_find(key);
	if (e == NULL) {
		k_mutex_unlock(&cfg_lock);
		return -ENOENT;
	}

	rc = cfg_validate(e, val, norm, sizeof(norm));
	if (rc != 0) {
		k_mutex_unlock(&cfg_lock);
		return rc;
	}

	snprintk(name, sizeof(name), "%s/%s", CFG_HANDLER_NAME, key);

	if (norm[0] == '\0') {
		/* Empty value clears the key (settings_nvs stores len 0 as
		 * delete anyway); the registry default applies again. */
		rc = settings_delete(name);
		if (rc == 0) {
			e->is_set = false;
			e->val[0] = '\0';
		}
	} else {
		rc = settings_save_one(name, norm, strlen(norm));
		if (rc == 0) {
			snprintk(e->val, sizeof(e->val), "%s", norm);
			e->is_set = true;
		}
	}
	k_mutex_unlock(&cfg_lock);

	if (rc != 0) {
		printk("CFG: persist %s failed (%d)\n", key, rc);
	}
	return rc;
}

int cfg_get(const char *key, char *buf, size_t len)
{
	struct cfg_entry *e;
	const char *src;
	char def[CFG_VAL_MAX];
	int rc = 0;

	if (key == NULL || buf == NULL || len == 0) {
		return -EINVAL;
	}

	k_mutex_lock(&cfg_lock, K_FOREVER);
	e = cfg_find(key);
	if (e == NULL) {
		rc = -ENOENT;
	} else if ((e->flags & CFG_F_WO) != 0) {
		rc = -EACCES;
	} else {
		if (e->is_set) {
			src = e->val;
		} else {
			cfg_default(e, def, sizeof(def));
			src = def;
		}
		if (strlen(src) + 1 > len) {
			rc = -ERANGE;
		} else {
			snprintk(buf, len, "%s", src);
		}
	}
	k_mutex_unlock(&cfg_lock);
	return rc;
}

void cfg_list(cfg_list_cb cb, void *ctx)
{
	char def[CFG_VAL_MAX];
	const char *src;

	if (cb == NULL) {
		return;
	}

	k_mutex_lock(&cfg_lock, K_FOREVER);
	for (size_t i = 0; i < ARRAY_SIZE(cfg_table); i++) {
		struct cfg_entry *e = &cfg_table[i];
		bool wo = (e->flags & CFG_F_WO) != 0;

		if (wo) {
			src = NULL;
		} else if (e->is_set) {
			src = e->val;
		} else {
			cfg_default(e, def, sizeof(def));
			src = def;
		}
		cb(e->name, src, wo, ctx);
	}
	k_mutex_unlock(&cfg_lock);
}

bool cfg_get_bool(const char *key, bool dflt)
{
	struct cfg_entry *e;
	bool v = dflt;

	k_mutex_lock(&cfg_lock, K_FOREVER);
	e = cfg_find(key);
	if (e != NULL && e->is_set) {
		v = (strcmp(e->val, "1") == 0 || strcmp(e->val, "true") == 0);
	}
	k_mutex_unlock(&cfg_lock);
	return v;
}

void cfg_get_str(const char *key, char *buf, size_t len, const char *dflt)
{
	struct cfg_entry *e;
	const char *src = dflt != NULL ? dflt : "";
	char def[CFG_VAL_MAX];

	if (key == NULL || buf == NULL || len == 0) {
		return;
	}

	k_mutex_lock(&cfg_lock, K_FOREVER);
	e = cfg_find(key);
	if (e != NULL) {
		if (e->is_set) {
			src = e->val;
		} else {
			cfg_default(e, def, sizeof(def));
			if (def[0] != '\0') {
				src = def;
			}
		}
	}
	snprintk(buf, len, "%s", src);
	k_mutex_unlock(&cfg_lock);
}

int cfg_get_int(const char *key, int dflt)
{
	struct cfg_entry *e;
	int v = dflt;

	k_mutex_lock(&cfg_lock, K_FOREVER);
	e = cfg_find(key);
	if (e != NULL && e->is_set) {
		v = atoi(e->val);
	}
	k_mutex_unlock(&cfg_lock);
	return v;
}

bool cfg_key_exists(const char *key)
{
	return key != NULL && cfg_find(key) != NULL;
}

int cfg_erase_all(void)
{
	char name[CFG_NAME_MAX];
	int rc = 0;

	if (!cfg_ready) {
		return -ENODEV;
	}

	k_mutex_lock(&cfg_lock, K_FOREVER);
	for (size_t i = 0; i < ARRAY_SIZE(cfg_table); i++) {
		int rc2;

		snprintk(name, sizeof(name), "%s/%s", CFG_HANDLER_NAME,
			 cfg_table[i].name);
		rc2 = settings_delete(name);
		if (rc2 != 0 && rc == 0) {
			rc = rc2;
		}
		cfg_table[i].is_set = false;
		cfg_table[i].val[0] = '\0';
	}
	k_mutex_unlock(&cfg_lock);

	printk("CFG: erased all settings (%d), reboot required\n", rc);
	return rc;
}
```

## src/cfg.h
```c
/*
 * AT-Node Zephyr — persistent config registry (settings/NVS backed).
 *
 * Single entry point for all persistent config, mirroring the Arduino
 * variant's config_set/get/list registry. Key space (v1, no tunnel/IR):
 *
 *   device.name        BLE hostname + MQTT client prefix (default AT-Node-S3-XXXX)
 *   wifi.ssid          write-only via cfg_get (secret)
 *   wifi.pass          write-only (secret)
 *   mqtt.broker        host/IP string
 *   mqtt.port          int, default 8883
 *   mqtt.user          string (may be empty)
 *   mqtt.pass          write-only (secret)
 *   mqtt.auto          bool, auto-connect at boot (persisted)
 *   mqtt.enable        bool, runtime start/stop (persisted, unlike Arduino RAM-only)
 *   http.auto          bool
 *   http.enable        bool
 *   ble.auto           bool
 *   ble.enable         bool
 *
 * cfg_set() persists immediately. Services are notified through
 * node_cfg_changed() (main.c) — cfg.c itself has no service deps.
 *
 * SPDX-License-Identifier: Apache-2.0
 */
#pragma once

#include <stdbool.h>
#include <stddef.h>

#define CFG_VAL_MAX 64 /* max value length (SSID/pass/broker host) */

/* key, value (NULL when write-only secret), write_only flag, ctx */
typedef void (*cfg_list_cb)(const char *key, const char *val, bool write_only,
			    void *ctx);

int  cfg_init(void); /* settings_subsys_init + load; once at boot */
int  cfg_set(const char *key, const char *val);
/* 0 ok, -ENOENT unknown key, -EINVAL bad value, -EACCES write-only (get) */
int  cfg_get(const char *key, char *buf, size_t len);
void cfg_list(cfg_list_cb cb, void *ctx);

/* Convenience typed readers (return dflt when unset/invalid) */
bool cfg_get_bool(const char *key, bool dflt);
void cfg_get_str(const char *key, char *buf, size_t len, const char *dflt);
int  cfg_get_int(const char *key, int dflt);

/* True when key exists in the registry (for AT+KEYS / unknown-key errors) */
bool cfg_key_exists(const char *key);

/* Erase all persisted settings (factory reset); caller reboots after */
int  cfg_erase_all(void);

/* Implemented in main.c: fan-out service notification after cfg_set().
 * Called by at_core on every successful cfg_set. Must be cheap/non-blocking.
 */
void node_cfg_changed(const char *key);
```

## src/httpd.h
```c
/*
 * AT-Node Zephyr — HTTP control plane (/at-node routes) + shared gzip SPA.
 *
 * Routes mirror the Arduino variant (PLAN.md §3):
 *   GET  /                              -> SPA (gzip, single response)
 *   GET  /at-node/cmd/status            -> JSON status
 *   GET  /at-node/help.json             -> machine-readable API catalog
 *   GET  /at-node/cmd/ability           -> feature flags
 *   POST /at-node/at                    -> raw AT line (text/plain body)
 *   POST /at-node/cmd/keyboard/{tap,text,key}
 *   POST /at-node/cmd/gpio/{write,read}
 *   POST /at-node/cmd/adc/read
 *   POST /at-node/cmd/i2c/{scan,read,write}
 *   GET|POST /at-node/cmd/config[?key=&val=]  + GET .../config/list
 *   POST /at-node/cmd/ble/pair?enable=1
 *   POST /at-node/cmd/nvs/clear         -> factory reset + reboot
 * Unknown path -> {"ok":false,"error":"not found"}
 *
 * SPDX-License-Identifier: Apache-2.0
 */
#pragma once

#include <stdbool.h>

int  httpd_start(void); /* bind :80; safe to call before WiFi is up */
void httpd_stop(void);
bool httpd_running(void);
```

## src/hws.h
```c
/*
 * AT-Node Zephyr — hardware services (GPIO / ADC / I2C).
 *
 * Pin map (nanoESP32-S3): I2C0 SDA=GPIO8 SCL=GPIO9 (app.overlay);
 * ADC0 channels per esp32s3 pinout (ch0=GPIO1 .. ch9=GPIO10);
 * GPIO 6-11 are flash lines on classic ESP32 only, but S3 strapping/USB
 * pins (0,3,19,20,45,46) are rejected by hws_gpio_*.
 *
 * SPDX-License-Identifier: Apache-2.0
 */
#pragma once

#include <stddef.h>
#include <stdint.h>

int hws_init(void);

int hws_gpio_write(uint8_t pin, int level);     /* -EINVAL unsafe pin */
int hws_gpio_read(uint8_t pin, int *level);
int hws_adc_read_mv(uint8_t ch, int *mv);       /* -EINVAL bad channel */
int hws_i2c_scan(char *buf, size_t len);        /* "+I2C: 0x3C 0x50" / "+I2C: none" */
int hws_i2c_read(uint8_t addr, uint8_t reg, uint8_t *data, size_t len);
int hws_i2c_write(uint8_t addr, uint8_t reg, const uint8_t *data, size_t len);
```
